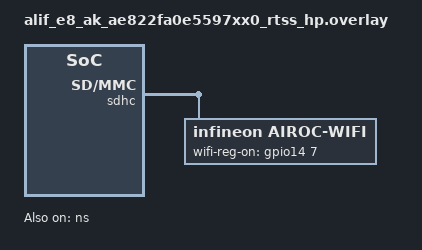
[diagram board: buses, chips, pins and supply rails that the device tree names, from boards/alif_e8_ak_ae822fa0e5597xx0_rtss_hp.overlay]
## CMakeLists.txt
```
cmake_minimum_required(VERSION 3.20.0)
find_package(Zephyr REQUIRED HINTS $ENV{ZEPHYR_BASE})
project(wifi_zperf_test)

target_sources(app PRIVATE src/test_wifi_zperf.c)
```

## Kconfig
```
source "Kconfig.zephyr"

config WIFI_ZPERF_TEST_SSID
	string "WiFi SSID for zperf test"
	default ""
	help
	  SSID of the Wi-Fi network for zperf testing.
	  Must be overridden in CI or board-specific config.

config WIFI_ZPERF_TEST_PSK
	string "WiFi PSK for zperf test"
	default ""
	help
	  Pre-Shared Key for the Wi-Fi network during zperf testing.
	  Must be overridden in CI or board-specific config.

config WIFI_ZPERF_SERVER_IP
	string "iperf server IPv4 address"
	default "10.0.0.76"

config WIFI_ZPERF_SERVER_PORT
	int "iperf server port"
	default 5001

config WIFI_ZPERF_TEST_DURATION_SEC
	int "Upload test duration in seconds"
	default 10

config WIFI_ZPERF_TCP_PACKET_SIZE
	int "TCP upload packet size in bytes"
	default 256

config WIFI_ZPERF_UDP_PACKET_SIZE
	int "UDP upload packet size in bytes"
	default 256

config WIFI_ZPERF_UDP_RATE_KBPS
	int "UDP upload target rate in kbps"
	default 10000

config WIFI_ZPERF_MIN_TCP_THROUGHPUT_KBPS
	int "Minimum expected TCP throughput in kbps"
	default 5000
	help
	  TCP upload must achieve at least this throughput to pass.

config WIFI_ZPERF_MIN_UDP_THROUGHPUT_KBPS
	int "Minimum expected UDP throughput in kbps"
	default 3000
	help
	  UDP upload must achieve at least this throughput to pass.

config WIFI_ZPERF_CONNECT_TIMEOUT_SEC
	int "WiFi connect timeout in seconds"
	default 30

config WIFI_ZPERF_DHCP_TIMEOUT_SEC
	int "DHCP timeout in seconds"
	default 15
	help
	  Time to wait for a DHCP lease after Wi-Fi association.

config WIFI_ZPERF_STABILITY_ITERATIONS
	int "Number of iterations for throughput stability test"
	default 3
```

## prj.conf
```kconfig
# Debug
CONFIG_LOG=y
CONFIG_HW_STACK_PROTECTION=y
CONFIG_DEBUG_THREAD_INFO=y

# Serial / Shell
CONFIG_SERIAL=y
CONFIG_GPIO=y
CONFIG_UART_CONSOLE=y
CONFIG_UART_INTERRUPT_DRIVEN=y
CONFIG_SHELL=y
CONFIG_SHELL_STACK_SIZE=5120
CONFIG_SHELL_BACKEND_SERIAL_RX_RING_BUFFER_SIZE=128
CONFIG_EARLY_CONSOLE=y

# Stack sizes
CONFIG_MAIN_STACK_SIZE=5120
CONFIG_NET_TX_STACK_SIZE=5120
CONFIG_NET_RX_STACK_SIZE=5120
CONFIG_NET_MGMT_EVENT_STACK_SIZE=2048
CONFIG_SYSTEM_WORKQUEUE_STACK_SIZE=5120
CONFIG_NET_SOCKETS_SERVICE_STACK_SIZE=2048
CONFIG_NET_TCP_WORKQ_STACK_SIZE=4096

# Network
CONFIG_NETWORKING=y
CONFIG_NET_IPV4=y
CONFIG_NET_IPV6=n
CONFIG_NET_DHCPV4=y
CONFIG_NET_MGMT_EVENT_INFO=y
CONFIG_NET_UDP=y
CONFIG_NET_TCP=y
CONFIG_NET_PKT_RX_COUNT=40
CONFIG_NET_PKT_TX_COUNT=40
CONFIG_NET_BUF_RX_COUNT=80
CONFIG_NET_BUF_TX_COUNT=80
CONFIG_NET_BUF_DATA_SIZE=1024
CONFIG_NET_MAX_CONTEXTS=10
CONFIG_NET_MAX_CONN=16
CONFIG_NET_TCP_MAX_RECV_WINDOW_SIZE=32768
CONFIG_NET_TCP_MAX_SEND_WINDOW_SIZE=32768
CONFIG_NET_OFFLOAD=y
CONFIG_WIFI_OFFLOAD=y
CONFIG_ZVFS_POLL_MAX=16

# Sockets (required by zperf)
CONFIG_NET_SOCKETS=y

# DNS
CONFIG_DNS_RESOLVER=y
CONFIG_DNS_RESOLVER_MAX_SERVERS=2

# Wi-Fi
CONFIG_WIFI=y
CONFIG_WIFI_AIROC=y
CONFIG_CYW55500=y
CONFIG_NET_L2_WIFI_SHELL=y
CONFIG_HEAP_MEM_POOL_SIZE=65536
CONFIG_KERNEL_MEM_POOL=y

# SDIO / SDHC
CONFIG_SDIO_STACK=y
CONFIG_SD_UHS_PROTOCOL=y
CONFIG_SDHC_RSP_136_HAS_CRC=y
CONFIG_SDHC_DWC=y

# Regulator
CONFIG_REGULATOR=y

# zperf
CONFIG_NET_ZPERF=y
CONFIG_NET_ZPERF_MAX_PACKET_SIZE=1024
CONFIG_ZPERF_WORK_Q_STACK_SIZE=4096

# ztest
CONFIG_ZTEST=y
CONFIG_ZTEST_STACK_SIZE=8192
```

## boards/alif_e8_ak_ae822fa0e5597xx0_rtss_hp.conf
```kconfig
# E8 AppKit board-specific config
CONFIG_SDHC_INIT_PRIORITY=80
```

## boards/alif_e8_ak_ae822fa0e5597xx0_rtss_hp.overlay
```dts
/* Copyright Alif Semiconductor - All Rights Reserved.
 * Use, distribution and modification of this code is permitted under the
 * terms stated in the Alif Semiconductor Software License Agreement
 *
 * You should have received a copy of the Alif Semiconductor Software
 * License Agreement with this file. If not, please write to:
 * contact@alifsemi.com, or visit: https://alifsemi.com/license
 */
 ns: &ns {
	reg = <0x20030000 DT_SIZE_K(256)>;
	status = "okay";
};

&gpio14 {
	status = "okay";
};

&gpio3 {
	status = "okay";
};

&gpio0 {
	status = "okay";
};

sdhc: &sdhc {
	compatible = "snps,dwc-sdhc";
	status = "okay";

	airoc-wifi {
		compatible = "infineon,airoc-wifi";
		status = "okay";

		wifi-reg-on-gpios    = <&gpio14 7 GPIO_ACTIVE_HIGH>;
	};
};
```

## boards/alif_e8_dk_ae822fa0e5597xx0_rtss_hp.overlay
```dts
/* Copyright Alif Semiconductor - All Rights Reserved.
 * Use, distribution and modification of this code is permitted under the
 * terms stated in the Alif Semiconductor Software License Agreement
 *
 * You should have received a copy of the Alif Semiconductor Software
 * License Agreement with this file. If not, please write to:
 * contact@alifsemi.com, or visit: https://alifsemi.com/license
 */
 ns: &ns {
	reg = <0x20028000 DT_SIZE_K(256)>;
	status = "okay";
};

&gpio14 {
	status = "okay";
};

&gpio3 {
	status = "okay";
};

&gpio0 {
	status = "okay";
};

sdhc: &sdhc {
	compatible = "snps,dwc-sdhc";
	status = "okay";

	airoc-wifi {
		compatible = "infineon,airoc-wifi";
		status = "okay";

		wifi-reg-on-gpios    = <&gpio14 7 GPIO_ACTIVE_HIGH>;
	};
};
```

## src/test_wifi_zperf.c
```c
/* Copyright Alif Semiconductor - All Rights Reserved.
 * Use, distribution and modification of this code is permitted under the
 * terms stated in the Alif Semiconductor Software License Agreement
 *
 * You should have received a copy of the Alif Semiconductor Software
 * License Agreement with this file. If not, please write to:
 * contact@alifsemi.com, or visit: https://alifsemi.com/license
 */

#include <zephyr/ztest.h>
#include <zephyr/logging/log.h>
#include <zephyr/kernel.h>
#include <zephyr/net/net_if.h>
#include <zephyr/net/wifi_mgmt.h>
#include <zephyr/net/net_mgmt.h>
#include <zephyr/net/zperf.h>
#include <zephyr/net/net_ip.h>
#include <zephyr/net/wifi.h>
#include <zephyr/tc_util.h>
#include <string.h>
#include <errno.h>
#include <stdbool.h>

LOG_MODULE_REGISTER(wifi_zperf_test, LOG_LEVEL_INF);

K_SEM_DEFINE(wifi_event, 0, 1);

#define WIFI_MGMT_EVENTS                                                       \
	(NET_EVENT_WIFI_CONNECT_RESULT | NET_EVENT_WIFI_DISCONNECT_RESULT)

static struct zperf_test_ctx {
	struct net_if *iface;
	bool connecting;
	int result;
	struct net_mgmt_event_callback wifi_mgmt_cb;
} ctx;

static void wifi_connect_result(struct net_mgmt_event_callback *cb)
{
	const struct wifi_status *status =
		(const struct wifi_status *)cb->info;

	ctx.result = status->status;

	if (ctx.result) {
		TC_PRINT("Connection failed (%d)\n", ctx.result);
	} else {
		TC_PRINT("Connected\n");
	}
}

static void wifi_disconnect_result(struct net_mgmt_event_callback *cb)
{
	const struct wifi_status *status =
		(const struct wifi_status *)cb->info;

	ctx.result = status->status;

	if (!ctx.connecting) {
		if (ctx.result) {
			TC_PRINT("Disconnect failed (%d)\n", ctx.result);
		} else {
			TC_PRINT("Disconnected\n");
		}
	} else {
		ctx.result = WIFI_STATUS_CONN_FAIL;
	}
}

static void wifi_mgmt_event_handler(struct net_mgmt_event_callback *cb,
				    uint32_t mgmt_event,
				    struct net_if *iface)
{
	ARG_UNUSED(iface);

	switch (mgmt_event) {
	case NET_EVENT_WIFI_CONNECT_RESULT:
		wifi_connect_result(cb);
		k_sem_give(&wifi_event);
		break;
	case NET_EVENT_WIFI_DISCONNECT_RESULT:
		wifi_disconnect_result(cb);
		k_sem_give(&wifi_event);
		break;
	default:
		break;
	}
}

static int wifi_connect(void)
{
	struct wifi_connect_req_params params = {0};
	int ret;

	params.band = WIFI_FREQ_BAND_UNKNOWN;
	params.channel = WIFI_CHANNEL_ANY;
	params.mfp = WIFI_MFP_OPTIONAL;
	params.ssid = (const uint8_t *)CONFIG_WIFI_ZPERF_TEST_SSID;
	params.ssid_length = strlen(CONFIG_WIFI_ZPERF_TEST_SSID);
	params.security = WIFI_SECURITY_TYPE_PSK;
	params.psk = (const uint8_t *)CONFIG_WIFI_ZPERF_TEST_PSK;
	params.psk_length = strlen(CONFIG_WIFI_ZPERF_TEST_PSK);

	ret = net_mgmt(NET_REQUEST_WIFI_CONNECT, ctx.iface, &params,
		       sizeof(params));
	if (ret) {
		TC_PRINT("Connection request failed: %d\n", ret);
		return ret;
	}

	TC_PRINT("Connection requested...\n");
	return 0;
}

static int wifi_disconnect(void)
{
	int ret;

	ret = net_mgmt(NET_REQUEST_WIFI_DISCONNECT, ctx.iface, NULL, 0);
	if (ret) {
		TC_PRINT("Disconnect request failed: %d\n", ret);
		return ret;
	}

	TC_PRINT("Disconnect requested...\n");
	return 0;
}

static int wifi_iface_state(void)
{
	struct wifi_iface_status status = {0};
	int ret = net_mgmt(NET_REQUEST_WIFI_IFACE_STATUS, ctx.iface, &status, sizeof(status));

	zassert_equal(ret, 0, "NET_REQUEST_WIFI_IFACE_STATUS failed: %d", ret);
	return status.state;
}

static bool get_sta_ipv4(struct in_addr *out)
{
	struct in_addr *addr;
	struct net_if_ipv4 *ipv4;
	int i;

	addr = net_if_ipv4_get_global_addr(ctx.iface, NET_ADDR_PREFERRED);
	if (addr != NULL && addr->s_addr != 0) {
		*out = *addr;
		return true;
	}

	ipv4 = ctx.iface->config.ip.ipv4;
	if (ipv4 == NULL) {
		return false;
	}

	for (i = 0; i < NET_IF_MAX_IPV4_ADDR; i++) {
		if (ipv4->unicast[i].ipv4.address.in_addr.s_addr != 0) {
			*out = ipv4->unicast[i].ipv4.address.in_addr;
			return true;
		}
	}

	return false;
}

static bool wait_for_dhcp(int timeout_sec)
{
	struct in_addr addr;
	char addr_str[NET_IPV4_ADDR_LEN];

	for (int i = 0; i < timeout_sec; i++) {
		if (get_sta_ipv4(&addr)) {
			net_addr_ntop(AF_INET, &addr, addr_str, sizeof(addr_str));
			TC_PRINT("DHCP acquired IP: %s\n", addr_str);
			return true;
		}
		k_sleep(K_SECONDS(1));
	}
	return false;
}

static void ensure_connected(void)
{
	int ret;
	int retry = 3;

	if (wifi_iface_state() != WIFI_STATE_COMPLETED) {
		ctx.connecting = true;
		do {
			k_sem_reset(&wifi_event);
			ret = wifi_connect();
			if (ret == -EAGAIN) {
				k_sleep(K_SECONDS(2));
				continue;
			}
			if (ret == 0) {
				ret = k_sem_take(&wifi_event,
					K_SECONDS(CONFIG_WIFI_ZPERF_CONNECT_TIMEOUT_SEC));
				if (ret == 0 && ctx.result == 0) {
					break;
				}
			}
			TC_PRINT("Connect attempt failed, retrying...\n");
			k_sleep(K_SECONDS(2));
		} while (--retry > 0);
		ctx.connecting = false;
	}

	zassert_equal(wifi_iface_state(), WIFI_STATE_COMPLETED,
		      "WiFi not connected");
	zassert_true(wait_for_dhcp(CONFIG_WIFI_ZPERF_DHCP_TIMEOUT_SEC),
		     "DHCP timed out");
}

static bool zperf_server_unreachable(int ret)
{
	return ret == -ETIMEDOUT || ret == -ECONNREFUSED ||
	       ret == -ENETUNREACH || ret == -EHOSTUNREACH;
}

static void setup_upload_params(struct zperf_upload_params *params,
				uint16_t packet_size, uint32_t rate_kbps)
{
	struct sockaddr_in *addr4;

	memset(params, 0, sizeof(*params));

	addr4 = (struct sockaddr_in *)&params->peer_addr;
	addr4->sin_family = AF_INET;
	addr4->sin_port = htons(CONFIG_WIFI_ZPERF_SERVER_PORT);
	int ret = net_addr_pton(AF_INET, CONFIG_WIFI_ZPERF_SERVER_IP,
			&addr4->sin_addr);
	zassert_equal(ret, 0, "Invalid WIFI_ZPERF_SERVER_IP '%s' (%d)",
			CONFIG_WIFI_ZPERF_SERVER_IP, ret);
	params->duration_ms = CONFIG_WIFI_ZPERF_TEST_DURATION_SEC * 1000U;
	params->packet_size = packet_size;
	params->rate_kbps = rate_kbps;
}

static uint32_t calc_throughput_kbps(struct zperf_results *results)
{
	if (results->client_time_in_us == 0) {
		return 0;
	}

	uint64_t total_bytes = results->total_len;

	if (total_bytes == 0U && results->nb_packets_sent > 0U) {
		total_bytes = (uint64_t)results->nb_packets_sent *
			      results->packet_size;
	}

	return (uint32_t)((total_bytes * 8ULL * 1000ULL) /
			  results->client_time_in_us);
}

/* ===================================================================
 * Functional Tests
 * ===================================================================
 */

ZTEST(wifi_zperf, test_wifi_connect)
{
	ensure_connected();

	int state = wifi_iface_state();

	TC_PRINT("Interface state: %s\n", wifi_state_txt(state));
	zassert_equal(state, WIFI_STATE_COMPLETED,
		      "WiFi not connected (setup should have connected)");

	struct in_addr addr;
	char addr_str[NET_IPV4_ADDR_LEN];

	zassert_true(get_sta_ipv4(&addr), "No IP address assigned");
	net_addr_ntop(AF_INET, &addr, addr_str, sizeof(addr_str));
	TC_PRINT("IP address: %s\n", addr_str);
}

ZTEST(wifi_zperf, test_tcp_upload)
{
	struct zperf_upload_params params;
	struct zperf_results results = {0};
	int ret;
	uint32_t throughput_kbps;

	ensure_connected();
	setup_upload_params(&params, CONFIG_WIFI_ZPERF_TCP_PACKET_SIZE, 0);

	TC_PRINT("TCP upload to %s:%d for %d seconds (pkt_size=%d)...\n",
		 CONFIG_WIFI_ZPERF_SERVER_IP, CONFIG_WIFI_ZPERF_SERVER_PORT,
		 CONFIG_WIFI_ZPERF_TEST_DURATION_SEC,
		 CONFIG_WIFI_ZPERF_TCP_PACKET_SIZE);

	ret = zperf_tcp_upload(&params, &results);
	if (zperf_server_unreachable(ret)) {
		TC_PRINT("Server %s:%d unreachable (%d), skipping\n",
			 CONFIG_WIFI_ZPERF_SERVER_IP,
			 CONFIG_WIFI_ZPERF_SERVER_PORT, ret);
		ztest_test_skip();
		return;
	}
	zassert_equal(ret, 0, "TCP upload failed: %d", ret);

	throughput_kbps = calc_throughput_kbps(&results);

	TC_PRINT("TCP upload results:\n");
	TC_PRINT("  Duration:   %llu us\n", results.client_time_in_us);
	TC_PRINT("  Bytes sent: %llu\n", results.total_len);
	TC_PRINT("  Packets:    %u sent, %u errors\n",
		 results.nb_packets_sent, results.nb_packets_errors);
	TC_PRINT("  Throughput: %u kbps (%u.%02u Mbps)\n",
		 throughput_kbps, throughput_kbps / 1000,
		 (throughput_kbps % 1000) / 10);

	zassert_true(throughput_kbps >= CONFIG_WIFI_ZPERF_MIN_TCP_THROUGHPUT_KBPS,
		     "TCP throughput %u kbps below minimum %u kbps",
		     throughput_kbps, CONFIG_WIFI_ZPERF_MIN_TCP_THROUGHPUT_KBPS);
}

ZTEST(wifi_zperf, test_tcp_upload_large_packet)
{
	struct zperf_upload_params params;
	struct zperf_results results = {0};
	int ret;
	uint32_t throughput_kbps;
	uint16_t pkt_size = 1024;

	ensure_connected();
	setup_upload_params(&params, pkt_size, 0);

	TC_PRINT("TCP upload (large pkt=%d) to %s:%d for %d s...\n",
		 pkt_size, CONFIG_WIFI_ZPERF_SERVER_IP,
		 CONFIG_WIFI_ZPERF_SERVER_PORT,
		 CONFIG_WIFI_ZPERF_TEST_DURATION_SEC);

	ret = zperf_tcp_upload(&params, &results);
	if (zperf_server_unreachable(ret)) {
		TC_PRINT("Server unreachable (%d), skipping\n", ret);
		ztest_test_skip();
		return;
	}
	zassert_equal(ret, 0, "TCP upload (large pkt) failed: %d", ret);

	throughput_kbps = calc_throughput_kbps(&results);

	TC_PRINT("  Bytes sent: %llu, Packets: %u\n",
		 results.total_len, results.nb_packets_sent);
	TC_PRINT("  Throughput: %u kbps (%u.%02u Mbps)\n",
		 throughput_kbps, throughput_kbps / 1000,
		 (throughput_kbps % 1000) / 10);

	zassert_true(throughput_kbps >= CONFIG_WIFI_ZPERF_MIN_TCP_THROUGHPUT_KBPS,
		     "TCP throughput %u kbps below minimum %u kbps",
		     throughput_kbps, CONFIG_WIFI_ZPERF_MIN_TCP_THROUGHPUT_KBPS);
}

ZTEST(wifi_zperf, test_udp_upload)
{
	struct zperf_upload_params params;
	struct zperf_results results = {0};
	int ret;
	uint32_t throughput_kbps;

	ensure_connected();
	setup_upload_params(&params, CONFIG_WIFI_ZPERF_UDP_PACKET_SIZE,
			    CONFIG_WIFI_ZPERF_UDP_RATE_KBPS);

	TC_PRINT("UDP upload to %s:%d for %d s (pkt=%d, rate=%d kbps)...\n",
		 CONFIG_WIFI_ZPERF_SERVER_IP, CONFIG_WIFI_ZPERF_SERVER_PORT,
		 CONFIG_WIFI_ZPERF_TEST_DURATION_SEC,
		 CONFIG_WIFI_ZPERF_UDP_PACKET_SIZE,
		 CONFIG_WIFI_ZPERF_UDP_RATE_KBPS);

	ret = zperf_udp_upload(&params, &results);
	if (zperf_server_unreachable(ret)) {
		TC_PRINT("UDP upload failed (%d), server unreachable, skipping\n", ret);
		ztest_test_skip();
		return;
	}
	zassert_equal(ret, 0, "UDP upload failed: %d", ret);

	throughput_kbps = calc_throughput_kbps(&results);

	TC_PRINT("UDP upload results:\n");
	TC_PRINT("  Duration:   %llu us\n", results.client_time_in_us);
	TC_PRINT("  Bytes sent: %llu\n", results.total_len);
	TC_PRINT("  Packets:    %u sent, %u lost, %u errors\n",
		 results.nb_packets_sent, results.nb_packets_lost,
		 results.nb_packets_errors);
	TC_PRINT("  Jitter:     %u us\n", results.jitter_in_us);
	TC_PRINT("  Throughput: %u kbps (%u.%02u Mbps)\n",
		 throughput_kbps, throughput_kbps / 1000,
		 (throughput_kbps % 1000) / 10);

	zassert_true(throughput_kbps >= CONFIG_WIFI_ZPERF_MIN_UDP_THROUGHPUT_KBPS,
		     "UDP throughput %u kbps below minimum %u kbps",
		     throughput_kbps, CONFIG_WIFI_ZPERF_MIN_UDP_THROUGHPUT_KBPS);
}

ZTEST(wifi_zperf, test_udp_upload_large_packet)
{
	struct zperf_upload_params params;
	struct zperf_results results = {0};
	int ret;
	uint32_t throughput_kbps;
	uint16_t pkt_size = 1024;

	ensure_connected();
	setup_upload_params(&params, pkt_size, CONFIG_WIFI_ZPERF_UDP_RATE_KBPS);

	TC_PRINT("UDP upload (large pkt=%d) to %s:%d for %d s...\n",
		 pkt_size, CONFIG_WIFI_ZPERF_SERVER_IP,
		 CONFIG_WIFI_ZPERF_SERVER_PORT,
		 CONFIG_WIFI_ZPERF_TEST_DURATION_SEC);

	ret = zperf_udp_upload(&params, &results);
	if (zperf_server_unreachable(ret)) {
		TC_PRINT("UDP upload (large pkt) failed (%d), skipping\n", ret);
		ztest_test_skip();
		return;
	}
	zassert_equal(ret, 0, "UDP upload (large pkt) failed: %d", ret);

	throughput_kbps = calc_throughput_kbps(&results);

	TC_PRINT("  Bytes sent: %llu, Packets: %u sent, %u lost\n",
		 results.total_len,
		 results.nb_packets_sent, results.nb_packets_lost);
	TC_PRINT("  Throughput: %u kbps (%u.%02u Mbps)\n",
		 throughput_kbps, throughput_kbps / 1000,
		 (throughput_kbps % 1000) / 10);

	zassert_true(throughput_kbps >= CONFIG_WIFI_ZPERF_MIN_UDP_THROUGHPUT_KBPS,
		     "UDP throughput %u kbps below minimum %u kbps",
		     throughput_kbps, CONFIG_WIFI_ZPERF_MIN_UDP_THROUGHPUT_KBPS);
}

/* ===================================================================
 * Performance / Stability Tests
 * ===================================================================
 */

ZTEST(wifi_zperf, test_tcp_throughput_stability)
{
	struct zperf_upload_params params;
	struct zperf_results results;
	int ret;
	int iterations = CONFIG_WIFI_ZPERF_STABILITY_ITERATIONS;
	uint32_t throughput_kbps;
	uint32_t total_kbps = 0;
	uint32_t min_kbps = UINT32_MAX;
	uint32_t max_kbps = 0;

	ensure_connected();
	setup_upload_params(&params, CONFIG_WIFI_ZPERF_TCP_PACKET_SIZE, 0);

	TC_PRINT("TCP throughput stability (%d runs, %d s each)...\n",
		 iterations, CONFIG_WIFI_ZPERF_TEST_DURATION_SEC);

	for (int i = 0; i < iterations; i++) {
		memset(&results, 0, sizeof(results));

		ret = zperf_tcp_upload(&params, &results);
		if (zperf_server_unreachable(ret)) {
			TC_PRINT("Run %d: server unreachable (%d), skipping\n",
				 i + 1, ret);
			ztest_test_skip();
			return;
		}
		zassert_equal(ret, 0, "Run %d: TCP upload failed: %d",
			      i + 1, ret);

		throughput_kbps = calc_throughput_kbps(&results);
		total_kbps += throughput_kbps;

		if (throughput_kbps < min_kbps) {
			min_kbps = throughput_kbps;
		}
		if (throughput_kbps > max_kbps) {
			max_kbps = throughput_kbps;
		}

		TC_PRINT("  Run %d: %u kbps (%u.%02u Mbps)\n",
			 i + 1, throughput_kbps,
			 throughput_kbps / 1000,
			 (throughput_kbps % 1000) / 10);

		k_sleep(K_SECONDS(2));
	}

	uint32_t avg_kbps = total_kbps / iterations;

	TC_PRINT("Stability results:\n");
	TC_PRINT("  Avg: %u kbps (%u.%02u Mbps)\n",
		 avg_kbps, avg_kbps / 1000, (avg_kbps % 1000) / 10);
	TC_PRINT("  Min: %u kbps, Max: %u kbps\n", min_kbps, max_kbps);
	TC_PRINT("  Variance: %u kbps\n", max_kbps - min_kbps);

	zassert_true(avg_kbps >= CONFIG_WIFI_ZPERF_MIN_TCP_THROUGHPUT_KBPS,
		     "Avg throughput %u kbps below minimum %u kbps",
		     avg_kbps, CONFIG_WIFI_ZPERF_MIN_TCP_THROUGHPUT_KBPS);

	zassert_true(min_kbps >= (CONFIG_WIFI_ZPERF_MIN_TCP_THROUGHPUT_KBPS / 2),
		     "Min throughput %u kbps below half of minimum threshold",
		     min_kbps);
}

ZTEST(wifi_zperf, test_udp_packet_loss)
{
	struct zperf_upload_params params;
	struct zperf_results results = {0};
	int ret;
	uint32_t loss_pct;

	ensure_connected();
	setup_upload_params(&params, CONFIG_WIFI_ZPERF_UDP_PACKET_SIZE,
			    CONFIG_WIFI_ZPERF_UDP_RATE_KBPS);

	TC_PRINT("UDP packet loss test to %s:%d...\n",
		 CONFIG_WIFI_ZPERF_SERVER_IP, CONFIG_WIFI_ZPERF_SERVER_PORT);

	ret = zperf_udp_upload(&params, &results);
	if (zperf_server_unreachable(ret)) {
		TC_PRINT("UDP upload failed (%d), server unreachable, skipping\n", ret);
		ztest_test_skip();
		return;
	}
	zassert_equal(ret, 0, "UDP packet loss upload failed: %d", ret);

	if (results.nb_packets_sent > 0) {
		loss_pct = (results.nb_packets_lost * 100U) /
			   results.nb_packets_sent;
	} else {
		loss_pct = 100;
	}

	TC_PRINT("UDP packet loss results:\n");
	TC_PRINT("  Sent: %u, Lost: %u, Errors: %u\n",
		 results.nb_packets_sent, results.nb_packets_lost,
		 results.nb_packets_errors);
	TC_PRINT("  Loss: %u%%\n", loss_pct);
	TC_PRINT("  Jitter: %u us\n", results.jitter_in_us);

	if (loss_pct > 100U) {
		TC_PRINT("Server report looks corrupted (%u%% loss), skipping\n",
			 loss_pct);
		ztest_test_skip();
		return;
	}

	zassert_true(loss_pct <= 30,
		     "UDP packet loss %u%% exceeds 30%% threshold", loss_pct);
}

/* ===================================================================
 * Negative Tests
 * ===================================================================
 */

ZTEST(wifi_zperf, test_tcp_upload_invalid_server)
{
	struct zperf_upload_params params;
	struct zperf_results results = {0};
	struct sockaddr_in *addr4 = (struct sockaddr_in *)&params.peer_addr;
	int ret;

	ensure_connected();
	memset(&params, 0, sizeof(params));
	addr4->sin_family = AF_INET;
	addr4->sin_port = htons(59999);
	net_addr_pton(AF_INET, "192.168.255.254", &addr4->sin_addr);
	params.duration_ms = 5000;
	params.packet_size = 256;

	TC_PRINT("TCP upload to unreachable server 192.168.255.254:59999...\n");

	ret = zperf_tcp_upload(&params, &results);

	TC_PRINT("Result: %d (expected non-zero or zero bytes sent)\n", ret);

	/* Either the API returns error or zero throughput — both acceptable */
	if (ret == 0) {
		zassert_equal(results.total_len, 0,
			      "Should not transfer data to unreachable server");
	}
}

ZTEST(wifi_zperf, test_udp_upload_zero_duration)
{
	struct zperf_upload_params params;
	struct zperf_results results = {0};
	int ret;

	ensure_connected();
	setup_upload_params(&params, CONFIG_WIFI_ZPERF_UDP_PACKET_SIZE,
			    CONFIG_WIFI_ZPERF_UDP_RATE_KBPS);
	params.duration_ms = 0;

	TC_PRINT("UDP upload with 0 duration...\n");

	ret = zperf_udp_upload(&params, &results);

	TC_PRINT("Result: %d, bytes sent: %llu\n", ret, results.total_len);

	zassert_true(ret == 0 || ret == -EINVAL || ret == -EOPNOTSUPP,
		     "Unexpected error for 0 duration: %d", ret);
	if (ret == 0) {
		zassert_true(results.nb_packets_sent <= 1,
			     "0 duration sent too many packets: %u",
			     results.nb_packets_sent);
	}
}

/* ===================================================================
 * Cleanup
 * ===================================================================
 */

ZTEST(wifi_zperf, test_wifi_disconnect)
{
	int ret;

	ensure_connected();

	k_sem_reset(&wifi_event);
	ret = wifi_disconnect();
	zassert_equal(ret, 0, "Disconnect request failed");

	ret = k_sem_take(&wifi_event, K_SECONDS(10));
	zassert_equal(ret, 0, "Disconnect timed out");
	zassert_equal(ctx.result, 0, "Disconnect failed");
	zassert_not_equal(wifi_iface_state(), WIFI_STATE_COMPLETED,
			  "Still connected after disconnect");
}

/* ===================================================================
 * Suite setup / teardown
 * ===================================================================
 */

static void wifi_zperf_before(void *fixture)
{
	ARG_UNUSED(fixture);
	k_sem_reset(&wifi_event);
	ctx.result = 0;
	ctx.connecting = false;
}

static void *wifi_zperf_setup(void)
{
	int retry = 50;

	while (retry-- > 0) {
		ctx.iface = net_if_get_wifi_sta();
		if (ctx.iface != NULL) {
			break;
		}
		k_sleep(K_MSEC(100));
	}
	zassert_not_null(ctx.iface, "No WiFi STA interface found");
	zassert_true(strlen(CONFIG_WIFI_ZPERF_TEST_SSID) > 0U,
		     "CONFIG_WIFI_ZPERF_TEST_SSID is empty; set it in board or overlay config");

	net_mgmt_init_event_callback(&ctx.wifi_mgmt_cb,
				     wifi_mgmt_event_handler,
				     WIFI_MGMT_EVENTS);
	net_mgmt_add_event_callback(&ctx.wifi_mgmt_cb);

	/* Wait for WiFi driver to be fully ready */
	TC_PRINT("Waiting for WiFi driver readiness...\n");
	int iface_up = 0;

	for (int i = 0; i < 30; i++) {
		if (net_if_is_up(ctx.iface)) {
			TC_PRINT("WiFi interface is up\n");
			iface_up = 1;
			break;
		}
		k_sleep(K_SECONDS(1));
	}
	zassert_true(iface_up, "WiFi interface did not come up");
	k_sleep(K_SECONDS(2));
	TC_PRINT("WiFi driver ready\n");

	ensure_connected();

	k_sem_reset(&wifi_event);
	return NULL;
}

static void wifi_zperf_teardown(void *fixture)
{
	ARG_UNUSED(fixture);

	if (ctx.iface != NULL) {
		struct wifi_iface_status status = {0};
		int ret = net_mgmt(NET_REQUEST_WIFI_IFACE_STATUS, ctx.iface,
				   &status, sizeof(status));

		if (ret == 0 && status.state == WIFI_STATE_COMPLETED) {
			k_sem_reset(&wifi_event);
			if (wifi_disconnect() == 0) {
				(void)k_sem_take(&wifi_event, K_SECONDS(10));
			}
		}
		net_mgmt_del_event_callback(&ctx.wifi_mgmt_cb);
	}
}

ZTEST_SUITE(wifi_zperf, NULL, wifi_zperf_setup, wifi_zperf_before, NULL,
	    wifi_zperf_teardown);
```
